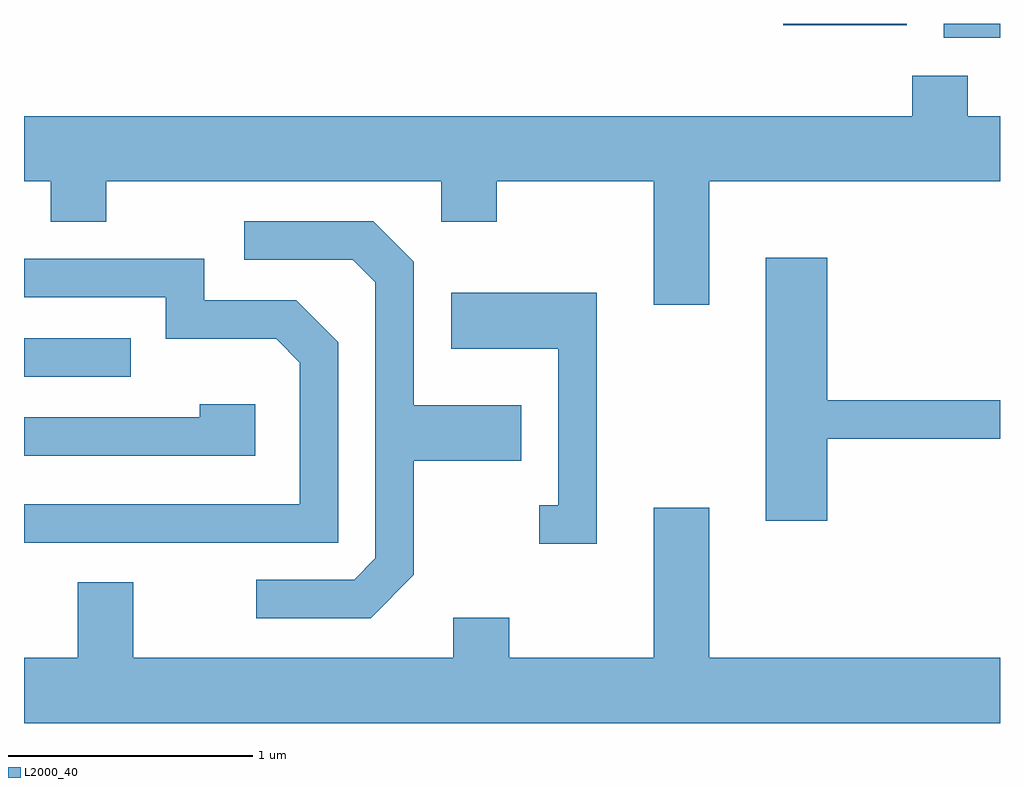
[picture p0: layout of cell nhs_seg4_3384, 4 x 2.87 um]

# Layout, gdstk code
import gdstk
lib = gdstk.Library(unit=1e-6, precision=1e-09)
def R(c, l, rs):  # rectangles x0, y0, x1, y1
    for r in rs: c.add(gdstk.rectangle(r[:2], r[2:], *l))
def P(c, l, *ps):  # polygons
    for p in ps: c.add(gdstk.Polygon(p, *l))
L2000_40 = (2000, 40)

nhs_seg4_3384 = lib.new_cell('nhs_seg4_3384')
R(nhs_seg4_3384, L2000_40, [(283.611,1360.536,284.048,1360.694), (287.381,1361.926,287.611,1361.982), (286.723,1361.976,287.229,1361.982)])
P(nhs_seg4_3384, L2000_40, [(286.419,1361.336),(287.611,1361.336),(287.611,1361.604),(287.479,1361.604),(287.479,1361.769),(287.251,1361.769),(287.251,1361.604),(283.611,1361.604),(283.611,1361.336),(283.721,1361.336),(283.721,1361.171),(283.949,1361.171),(283.949,1361.336),(285.321,1361.336),(285.321,1361.171),(285.549,1361.171),(285.549,1361.336),(286.191,1361.336),(286.191,1360.831),(286.419,1360.831)],
  [(285.209,1359.724),(285.209,1360.191),(285.649,1360.191),(285.649,1360.419),(285.209,1360.419),(285.209,1361.007),(285.042,1361.174),(284.513,1361.174),(284.513,1361.016),(284.959,1361.016),(285.051,1360.924),(285.051,1359.792),(284.964,1359.704),(284.563,1359.704),(284.563,1359.546),(285.032,1359.546)],
  [(286.904,1360.281),(287.611,1360.281),(287.611,1360.439),(286.904,1360.439),(286.904,1361.024),(286.651,1361.024),(286.651,1359.946),(286.904,1359.946)],
  [(284.899,1360.677),(284.727,1360.849),(284.349,1360.849),(284.349,1361.019),(283.611,1361.019),(283.611,1360.861),(284.191,1360.861),(284.191,1360.691),(284.644,1360.691),(284.741,1360.594),(284.741,1360.014),(283.611,1360.014),(283.611,1359.856),(284.899,1359.856)],
  [(285.959,1360.879),(285.361,1360.879),(285.361,1360.651),(285.801,1360.651),(285.801,1360.009),(285.723,1360.009),(285.723,1359.851),(285.959,1359.851)],
  [(284.559,1360.424),(284.331,1360.424),(284.331,1360.369),(283.611,1360.369),(283.611,1360.211),(284.559,1360.211)],
  [(287.611,1359.384),(286.419,1359.384),(286.419,1359.999),(286.191,1359.999),(286.191,1359.384),(285.599,1359.384),(285.599,1359.549),(285.371,1359.549),(285.371,1359.384),(284.059,1359.384),(284.059,1359.694),(283.831,1359.694),(283.831,1359.384),(283.611,1359.384),(283.611,1359.116),(287.611,1359.116)])

lib.write_gds('nhs_seg4_3384.gds')
